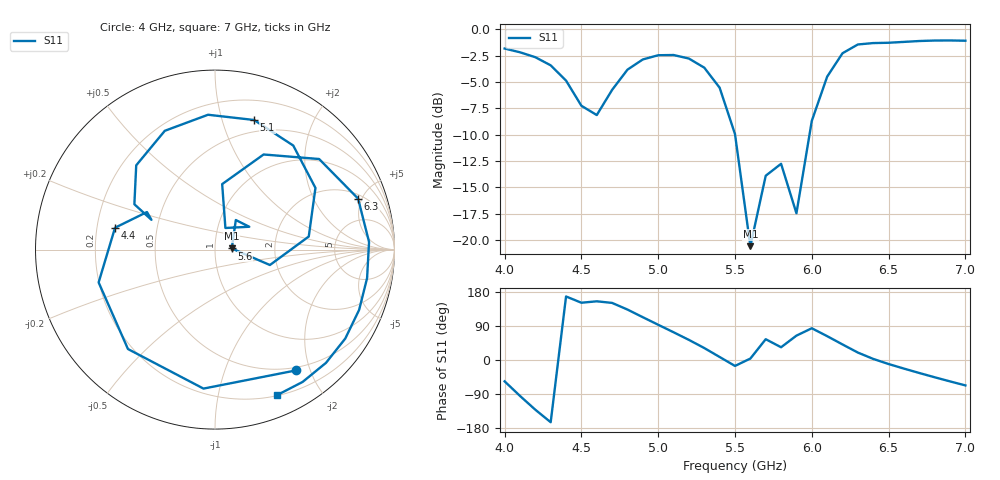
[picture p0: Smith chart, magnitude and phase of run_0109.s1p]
! Touchstone file exported from HFSS 2024.2.0
!  File:  C:/Users/wsak9/Desktop/Sim Fast/Widenad Patch/WP_AI_V1_sweep.aedt
!  Generated:  07:26:48 PM Oct 13, 2026
!  Design:  A1_model
!  Project:  WP_AI_V1_sweep
!  Setup:  Setup1
!  Solution:  Sweep
! Variables:
!  Air_gap = 2.13mm
!  Curve_Amp1 = 3.58
!  Curve_len1 = 1
!  Curve_pos = 11.4mm
!  Extra = 6.86mm
!  H_sub = 0.79mm
!  L_Patch = 18.8mm
!  L_Patch1 = 17.7mm
!  Sx = 1.3mm
!  Sy = 0.89mm
!  WS = 1.5mm
!  W_Patch = 13.31mm
!  W_Patch1 = 10.84mm
!Data is not renormalized
# GHz S MA
! Terminal data exported
! Port[1] = 1
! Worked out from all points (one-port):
!   31 points, 4 GHz to 7 GHz, reference per port
!   lowest |S11| = -20.6 dB at 5.6 GHz (marker M1), VSWR 1.21
!   |S11| at or under -10 dB: 5.5 GHz to 5.985 GHz (484.9 MHz wide, 8.44 % of centre)
!   S11 on the Smith chart (normalised r, x): 4 GHz: 0.46, -1.78; 4.4 GHz: 0.28, +0.10; 5.1 GHz: 0.38, +1.27; 5.6 GHz: 1.21, +0.02; 6.3 GHz: 2.33, +4.66; 7 GHz: 0.20, -1.49
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4  0.8095 -56.3
4.1  0.777 -94.7
4.2  0.7363 -131.2
4.3  0.6736 -164.3
4.4  0.5702 167.7
4.5  0.433 151.1
4.6  0.3912 154.9
4.7  0.5154 150.6
4.8  0.6428 133.1
4.9  0.7186 112.9
5  0.7523 92.9
5.1  0.7542 73.2
5.2  0.7254 53.1
5.3  0.6567 31.6
5.4  0.5275 7.9
5.5  0.3178 -15.7
5.6  0.09332 3.8
5.7  0.2016 54.8
5.8  0.2297 33.6
5.9  0.1337 64.3
6  0.367 83.8
6.1  0.5952 62.9
6.2  0.7689 41.0
6.3  0.8463 19.6
6.4  0.8594 2.9
6.5  0.8621 -10.6
6.7  0.8788 -34.3
7  0.8816 -67.1
